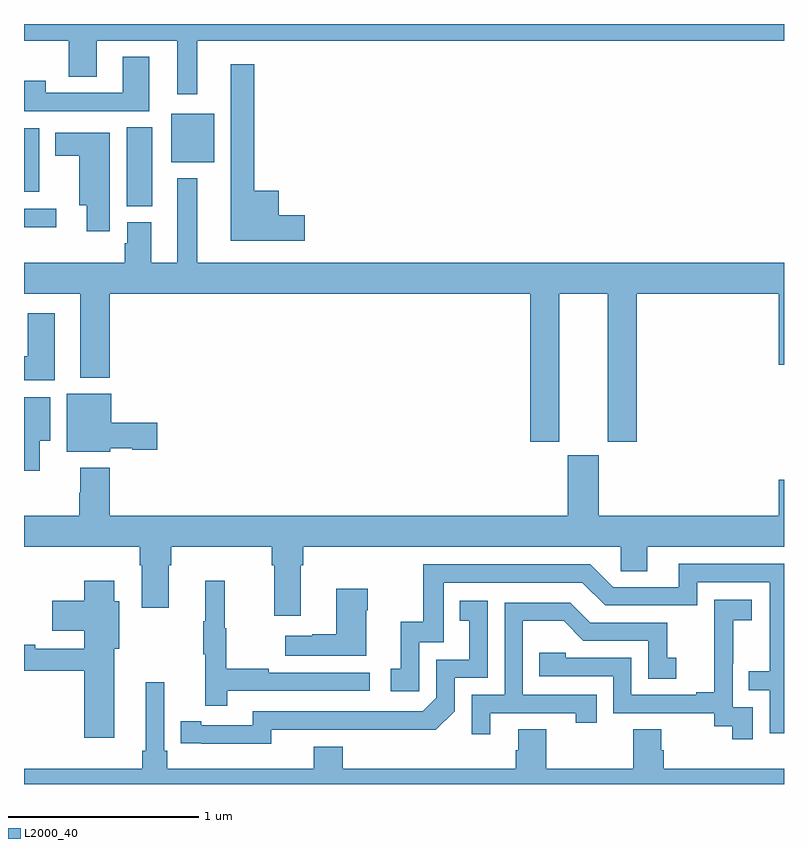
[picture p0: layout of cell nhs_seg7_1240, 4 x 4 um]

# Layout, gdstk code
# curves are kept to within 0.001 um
import gdstk
lib = gdstk.Library(unit=1e-6, precision=1e-09)
def R(c, l, rs):  # rectangles x0, y0, x1, y1
    for r in rs: c.add(gdstk.rectangle(r[:2], r[2:], *l))
def P(c, l, *ps):  # polygons
    for p in ps: c.add(gdstk.Polygon(p, *l))
L2000_40 = (2000, 40)

nhs_seg7_1240 = lib.new_cell('nhs_seg7_1240')
R(nhs_seg7_1240, L2000_40, [(197,1036.93,197.17,1037.028), (197.54,1037.041,197.674,1037.456), (197,1037.117,197.08,1037.452), (197.774,1037.273,198.001,1037.527)])
P(nhs_seg7_1240, L2000_40, [(197.911,1037.912),(201,1037.912),(201,1038),(197,1038),(197,1037.912),(197.236,1037.912),(197.236,1037.722),(197.383,1037.722),(197.383,1037.912),(197.807,1037.912),(197.807,1037.631),(197.911,1037.631)],
  [(197.659,1037.827),(197.519,1037.827),(197.519,1037.637),(197.115,1037.637),(197.115,1037.701),(197,1037.701),(197,1037.541),(197.659,1037.541)],
  [(198.478,1036.994),(198.34,1036.994),(198.34,1037.122),(198.211,1037.122),(198.211,1037.788),(198.089,1037.788),(198.089,1036.859),(198.478,1036.859)],
  [(197.452,1037.428),(197.165,1037.428),(197.165,1037.306),(197.291,1037.306),(197.291,1037.045),(197.33,1037.045),(197.33,1036.908),(197.452,1036.908)],
  [(199.816,1036.58),(200.072,1036.58),(200.072,1035.801),(200.225,1035.801),(200.225,1036.58),(200.972,1036.58),(200.972,1036.206),(201,1036.206),(201,1036.744),(197.911,1036.744),(197.911,1037.188),(197.807,1037.188),(197.807,1036.744),(197.671,1036.744),(197.671,1036.956),(197.543,1036.956),(197.543,1036.845),(197.531,1036.845),(197.531,1036.744),(197,1036.744),(197,1036.58),(197.297,1036.58),(197.297,1036.139),(197.45,1036.139),(197.45,1036.58),(199.664,1036.58),(199.664,1035.801),(199.816,1035.801)],
  [(197.161,1036.477),(197.021,1036.477),(197.021,1036.252),(197,1036.252),(197,1036.124),(197.161,1036.124)],
  [(197.454,1035.767),(197.571,1035.767),(197.571,1035.76),(197.701,1035.76),(197.701,1035.902),(197.458,1035.902),(197.458,1036.054),(197.225,1036.054),(197.225,1035.749),(197.454,1035.749)],
  [(197.083,1035.806),(197.137,1035.806),(197.137,1036.036),(197,1036.036),(197,1035.648),(197.083,1035.648)],
  [(198.457,1035.152),(198.47,1035.152),(198.47,1035.248),(200.142,1035.248),(200.142,1035.121),(200.281,1035.121),(200.281,1035.248),(201,1035.248),(201,1035.601),(200.972,1035.601),(200.972,1035.412),(200.026,1035.412),(200.026,1035.729),(199.862,1035.729),(199.862,1035.412),(197.45,1035.412),(197.45,1035.664),(197.297,1035.664),(197.297,1035.533),(197.29,1035.533),(197.29,1035.412),(197,1035.412),(197,1035.248),(197.609,1035.248),(197.609,1035.152),(197.621,1035.152),(197.621,1034.928),(197.761,1034.928),(197.761,1035.152),(197.774,1035.152),(197.774,1035.248),(198.305,1035.248),(198.305,1035.152),(198.317,1035.152),(198.317,1034.886),(198.457,1034.886)],
  [(201,1035.159),(200.447,1035.159),(200.447,1035.036),(200.1,1035.036),(199.98,1035.156),(199.101,1035.156),(199.101,1034.853),(198.983,1034.853),(198.983,1034.607),(198.93,1034.607),(198.93,1034.487),(199.08,1034.487),(199.08,1034.745),(199.209,1034.745),(199.209,1035.06),(199.938,1035.06),(200.058,1034.94),(200.544,1034.94),(200.544,1035.063),(200.925,1035.063),(200.925,1034.594),(200.815,1034.594),(200.815,1034.493),(200.925,1034.493),(200.925,1034.268),(201,1034.268)],
  [(197.476,1034.711),(197.5,1034.711),(197.5,1034.961),(197.476,1034.961),(197.476,1035.07),(197.318,1035.07),(197.318,1034.965),(197.148,1034.965),(197.148,1034.807),(197.318,1034.807),(197.318,1034.712),(197.06,1034.712),(197.06,1034.732),(197,1034.732),(197,1034.596),(197.318,1034.596),(197.318,1034.244),(197.476,1034.244)],
  [(198.071,1034.49),(198.82,1034.49),(198.82,1034.586),(198.287,1034.586),(198.287,1034.606),(198.064,1034.606),(198.064,1034.82),(198.056,1034.82),(198.056,1035.07),(197.954,1035.07),(197.954,1034.857),(197.943,1034.857),(197.943,1034.683),(197.954,1034.683),(197.954,1034.412),(198.071,1034.412)],
  [(198.802,1034.915),(198.81,1034.915),(198.81,1035.028),(198.644,1035.028),(198.644,1034.789),(198.518,1034.789),(198.518,1034.779),(198.375,1034.779),(198.375,1034.675),(198.802,1034.675)],
  [(200.835,1034.403),(200.73,1034.403),(200.73,1034.632),(200.732,1034.632),(200.732,1034.861),(200.83,1034.861),(200.83,1034.971),(200.632,1034.971),(200.632,1034.765),(200.633,1034.765),(200.633,1034.482),(200.537,1034.482),(200.537,1034.469),(200.196,1034.469),(200.196,1034.664),(199.851,1034.664),(199.851,1034.691),(199.711,1034.691),(199.711,1034.568),(200.1,1034.568),(200.1,1034.373),(200.634,1034.373),(200.634,1034.305),(200.727,1034.305),(200.727,1034.235),(200.835,1034.235)],
  [(198.3,1034.286),(199.168,1034.285),(199.266,1034.382),(199.266,1034.559),(199.44,1034.559),(199.44,1034.965),(199.294,1034.965),(199.294,1034.859),(199.343,1034.859),(199.343,1034.655),(199.17,1034.655),(199.17,1034.454),(199.098,1034.382),(198.204,1034.382),(198.204,1034.31),(197.932,1034.31),(197.932,1034.33),(197.824,1034.33),(197.824,1034.214),(198.3,1034.213)],
  [(199.453,1034.373),(199.904,1034.373),(199.904,1034.322),(200.015,1034.322),(200.015,1034.469),(199.626,1034.469),(199.626,1034.858),(199.84,1034.858),(199.944,1034.754),(200.286,1034.754),(200.286,1034.555),(200.434,1034.555),(200.434,1034.665),(200.385,1034.665),(200.385,1034.85),(199.981,1034.85),(199.876,1034.955),(199.53,1034.955),(199.53,1034.469),(199.356,1034.469),(199.356,1034.262),(199.453,1034.262)],
  [(201,1034.08),(200.366,1034.08),(200.366,1034.178),(200.353,1034.178),(200.353,1034.288),(200.206,1034.288),(200.206,1034.08),(199.749,1034.08),(199.749,1034.288),(199.601,1034.288),(199.601,1034.178),(199.589,1034.178),(199.589,1034.08),(198.677,1034.08),(198.677,1034.197),(198.524,1034.197),(198.524,1034.08),(197.753,1034.08),(197.753,1034.176),(197.739,1034.176),(197.739,1034.536),(197.642,1034.536),(197.642,1034.176),(197.623,1034.176),(197.623,1034.08),(197,1034.08),(197,1034),(201,1034)])

lib.write_gds('nhs_seg7_1240.gds')
